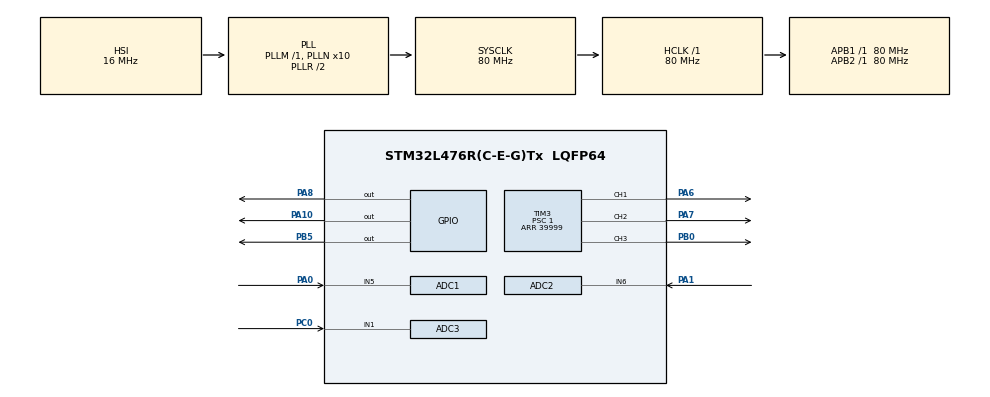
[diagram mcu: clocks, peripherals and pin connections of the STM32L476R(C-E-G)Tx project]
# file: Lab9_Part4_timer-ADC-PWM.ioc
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ADC1.Channel-0\#ChannelRegularConversion=ADC_CHANNEL_5
ADC1.NbrOfConversionFlag=1
ADC1.OffsetNumber-0\#ChannelRegularConversion=ADC_OFFSET_NONE
ADC1.Rank-0\#ChannelRegularConversion=1
ADC1.SamplingTime-0\#ChannelRegularConversion=ADC_SAMPLETIME_2CYCLES_5
ADC1.master=1
ADC2.Channel-0\#ChannelRegularConversion=ADC_CHANNEL_6
ADC2.NbrOfConversionFlag=1
ADC2.OffsetNumber-0\#ChannelRegularConversion=ADC_OFFSET_NONE
ADC2.Rank-0\#ChannelRegularConversion=1
ADC2.SamplingTime-0\#ChannelRegularConversion=ADC_SAMPLETIME_2CYCLES_5
ADC3.Channel-0\#ChannelRegularConversion=ADC_CHANNEL_1
ADC3.NbrOfConversionFlag=1
ADC3.OffsetNumber-0\#ChannelRegularConversion=ADC_OFFSET_NONE
ADC3.Rank-0\#ChannelRegularConversion=1
ADC3.SamplingTime-0\#ChannelRegularConversion=ADC_SAMPLETIME_2CYCLES_5
Mcu.Family=STM32L4
Mcu.Name=STM32L476R(C-E-G)Tx
Mcu.Package=LQFP64
NVIC.PriorityGroup=NVIC_PRIORITYGROUP_4
NVIC.TIM1_UP_TIM16_IRQn=true\:0\:0\:false\:false\:true\:true\:true\:true
PA0.Signal=ADCx_IN5
PA1.Signal=ADCx_IN6
PA10.Signal=GPIO_Output
PA13\ (JTMS-SWDIO).GPIO_Label=TMS
PA13\ (JTMS-SWDIO).Mode=Serial_Wire
PA13\ (JTMS-SWDIO).Signal=SYS_JTMS-SWDIO
PA14\ (JTCK-SWCLK).GPIO_Label=TCK
PA14\ (JTCK-SWCLK).Mode=Serial_Wire
PA14\ (JTCK-SWCLK).Signal=SYS_JTCK-SWCLK
PA6.Signal=S_TIM3_CH1
PA7.Signal=S_TIM3_CH2
PA8.Signal=GPIO_Output
PB0.Signal=S_TIM3_CH3
PB3\ (JTDO-TRACESWO).GPIO_Label=SWO
PB3\ (JTDO-TRACESWO).Signal=SYS_JTDO-SWO
PB5.Signal=GPIO_Output
PC0.Signal=ADCx_IN1
PC14-OSC32_IN\ (PC14).Mode=LSE-External-Oscillator
PC14-OSC32_IN\ (PC14).Signal=RCC_OSC32_IN
PC15-OSC32_OUT\ (PC15).Mode=LSE-External-Oscillator
PC15-OSC32_OUT\ (PC15).Signal=RCC_OSC32_OUT
PH0-OSC_IN\ (PH0).Signal=RCC_OSC_IN
PH1-OSC_OUT\ (PH1).Signal=RCC_OSC_OUT
ProjectManager.HeapSize=0x200
ProjectManager.StackSize=0x400
ProjectManager.TargetToolchain=STM32CubeIDE
RCC.ADCFreq_Value=64000000
RCC.AHBFreq_Value=80000000
RCC.APB1Freq_Value=80000000
RCC.APB1TimFreq_Value=80000000
RCC.APB2Freq_Value=80000000
RCC.APB2TimFreq_Value=80000000
RCC.CortexFreq_Value=80000000
RCC.HCLKFreq_Value=80000000
RCC.HSE_VALUE=8000000
RCC.HSI_VALUE=16000000
RCC.MSI_VALUE=4000000
RCC.PLLN=10
RCC.PLLSourceVirtual=RCC_PLLSOURCE_HSI
RCC.PREFETCH_ENABLE=1
RCC.SYSCLKFreq_VALUE=80000000
RCC.SYSCLKSource=RCC_SYSCLKSOURCE_PLLCLK
RCC.USBFreq_Value=64000000
RCC.VCOOutputFreq_Value=160000000
SH.ADCx_IN1.0=ADC3_IN1,IN1-Single-Ended
SH.ADCx_IN5.0=ADC1_IN5,IN5-Single-Ended
SH.ADCx_IN6.0=ADC2_IN6,IN6-Single-Ended
SH.S_TIM3_CH1.0=TIM3_CH1,PWM Generation1 CH1
SH.S_TIM3_CH2.0=TIM3_CH2,PWM Generation2 CH2
SH.S_TIM3_CH3.0=TIM3_CH3,PWM Generation3 CH3
TIM16.Period=999
TIM16.Prescaler=7999
TIM3.AutoReloadPreload=TIM_AUTORELOAD_PRELOAD_ENABLE
TIM3.Channel-PWM\ Generation1\ CH1=TIM_CHANNEL_1
TIM3.Channel-PWM\ Generation2\ CH2=TIM_CHANNEL_2
TIM3.Channel-PWM\ Generation3\ CH3=TIM_CHANNEL_3
TIM3.Period=39999
TIM3.Prescaler=1
VP_TIM16_VS_ClockSourceINT.Mode=Enable_Timer
VP_TIM3_VS_ClockSourceINT.Mode=Internal
board=NUCLEO-L476RG

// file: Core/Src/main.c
/* USER CODE BEGIN Header */
/**
  ******************************************************************************
  * @file           : main.c
  * @brief          : Main program body
  ******************************************************************************
  * @attention
  *
  * Copyright (c) 2025 STMicroelectronics.
  * All rights reserved.
  *
  * This software is licensed under terms that can be found in the LICENSE file
  * in the root directory of this software component.
  * If no LICENSE file comes with this software, it is provided AS-IS.
  *
  ******************************************************************************
  */
/* USER CODE END Header */
#include "main.h"

ADC_HandleTypeDef hadc1;
ADC_HandleTypeDef hadc2;
ADC_HandleTypeDef hadc3;

TIM_HandleTypeDef htim3;
TIM_HandleTypeDef htim16;

void SystemClock_Config(void);
void PeriphCommonClock_Config(void);
static void MX_GPIO_Init(void);
static void MX_ADC1_Init(void);
static void MX_ADC2_Init(void);
static void MX_ADC3_Init(void);
static void MX_TIM3_Init(void);
static void MX_TIM16_Init(void);

int main(void)
{

  /* MCU Configuration--------------------------------------------------------*/

  /* Reset of all peripherals, Initializes the Flash interface and the Systick. */
  HAL_Init();

  /* Configure the system clock */
  SystemClock_Config();

  /* Configure the peripherals common clocks */
  PeriphCommonClock_Config();

  /* Initialize all configured peripherals */
  MX_GPIO_Init();
  MX_ADC1_Init();
  MX_ADC2_Init();
  MX_ADC3_Init();
  MX_TIM3_Init();
  MX_TIM16_Init();
  /* USER CODE BEGIN 2 */
  HAL_TIM_Base_Start_IT(&htim16); // Start Timer16
  HAL_TIM_PWM_Start(&htim3, TIM_CHANNEL_1); // start PWM on Timer3’s Channel 1
  HAL_TIM_PWM_Start(&htim3, TIM_CHANNEL_2); // start PWM on Timer3’s Channel 2
  HAL_TIM_PWM_Start(&htim3, TIM_CHANNEL_3); // start PWM on Timer3’s Channel 3
  /* USER CODE END 2 */

  /* Infinite loop */
  while (1)
  {

  }
}

void SystemClock_Config(void)
{
  RCC_OscInitTypeDef RCC_OscInitStruct = {0};
  RCC_ClkInitTypeDef RCC_ClkInitStruct = {0};

  /** Configure the main internal regulator output voltage
  */
  if (HAL_PWREx_ControlVoltageScaling(PWR_REGULATOR_VOLTAGE_SCALE1) != HAL_OK)
  {
    Error_Handler();
  }

  /** Initializes the RCC Oscillators according to the specified parameters
  * in the RCC_OscInitTypeDef structure.
  */
  RCC_OscInitStruct.OscillatorType = RCC_OSCILLATORTYPE_HSI;
  RCC_OscInitStruct.HSIState = RCC_HSI_ON;
  RCC_OscInitStruct.HSICalibrationValue = RCC_HSICALIBRATION_DEFAULT;
  RCC_OscInitStruct.PLL.PLLState = RCC_PLL_ON;
  RCC_OscInitStruct.PLL.PLLSource = RCC_PLLSOURCE_HSI;
  RCC_OscInitStruct.PLL.PLLM = 1;
  RCC_OscInitStruct.PLL.PLLN = 10;
  RCC_OscInitStruct.PLL.PLLP = RCC_PLLP_DIV7;
  RCC_OscInitStruct.PLL.PLLQ = RCC_PLLQ_DIV2;
  RCC_OscInitStruct.PLL.PLLR = RCC_PLLR_DIV2;
  if (HAL_RCC_OscConfig(&RCC_OscInitStruct) != HAL_OK)
  {
    Error_Handler();
  }

  /** Initializes the CPU, AHB and APB buses clocks
  */
  RCC_ClkInitStruct.ClockType = RCC_CLOCKTYPE_HCLK|RCC_CLOCKTYPE_SYSCLK
                              |RCC_CLOCKTYPE_PCLK1|RCC_CLOCKTYPE_PCLK2;
  RCC_ClkInitStruct.SYSCLKSource = RCC_SYSCLKSOURCE_PLLCLK;
  RCC_ClkInitStruct.AHBCLKDivider = RCC_SYSCLK_DIV1;
  RCC_ClkInitStruct.APB1CLKDivider = RCC_HCLK_DIV1;
  RCC_ClkInitStruct.APB2CLKDivider = RCC_HCLK_DIV1;

  if (HAL_RCC_ClockConfig(&RCC_ClkInitStruct, FLASH_LATENCY_4) != HAL_OK)
  {
    Error_Handler();
  }
}

void PeriphCommonClock_Config(void)
{
  RCC_PeriphCLKInitTypeDef PeriphClkInit = {0};

  /** Initializes the peripherals clock
  */
  PeriphClkInit.PeriphClockSelection = RCC_PERIPHCLK_ADC;
  PeriphClkInit.AdcClockSelection = RCC_ADCCLKSOURCE_PLLSAI1;
  PeriphClkInit.PLLSAI1.PLLSAI1Source = RCC_PLLSOURCE_HSI;
  PeriphClkInit.PLLSAI1.PLLSAI1M = 1;
  PeriphClkInit.PLLSAI1.PLLSAI1N = 8;
  PeriphClkInit.PLLSAI1.PLLSAI1P = RCC_PLLP_DIV7;
  PeriphClkInit.PLLSAI1.PLLSAI1Q = RCC_PLLQ_DIV2;
  PeriphClkInit.PLLSAI1.PLLSAI1R = RCC_PLLR_DIV2;
  PeriphClkInit.PLLSAI1.PLLSAI1ClockOut = RCC_PLLSAI1_ADC1CLK;
  if (HAL_RCCEx_PeriphCLKConfig(&PeriphClkInit) != HAL_OK)
  {
    Error_Handler();
  }
}

static void MX_ADC1_Init(void)
{

  ADC_MultiModeTypeDef multimode = {0};
  ADC_ChannelConfTypeDef sConfig = {0};

  /** Common config
  */
  hadc1.Instance = ADC1;
  hadc1.Init.ClockPrescaler = ADC_CLOCK_ASYNC_DIV1;
  hadc1.Init.Resolution = ADC_RESOLUTION_12B;
  hadc1.Init.DataAlign = ADC_DATAALIGN_RIGHT;
  hadc1.Init.ScanConvMode = ADC_SCAN_DISABLE;
  hadc1.Init.EOCSelection = ADC_EOC_SINGLE_CONV;
  hadc1.Init.LowPowerAutoWait = DISABLE;
  hadc1.Init.ContinuousConvMode = DISABLE;
  hadc1.Init.NbrOfConversion = 1;
  hadc1.Init.DiscontinuousConvMode = DISABLE;
  hadc1.Init.ExternalTrigConv = ADC_SOFTWARE_START;
  hadc1.Init.ExternalTrigConvEdge = ADC_EXTERNALTRIGCONVEDGE_NONE;
  hadc1.Init.DMAContinuousRequests = DISABLE;
  hadc1.Init.Overrun = ADC_OVR_DATA_PRESERVED;
  hadc1.Init.OversamplingMode = DISABLE;
  if (HAL_ADC_Init(&hadc1) != HAL_OK)
  {
    Error_Handler();
  }

  /** Configure the ADC multi-mode
  */
  multimode.Mode = ADC_MODE_INDEPENDENT;
  if (HAL_ADCEx_MultiModeConfigChannel(&hadc1, &multimode) != HAL_OK)
  {
    Error_Handler();
  }

  /** Configure Regular Channel
  */
  sConfig.Channel = ADC_CHANNEL_5;
  sConfig.Rank = ADC_REGULAR_RANK_1;
  sConfig.SamplingTime = ADC_SAMPLETIME_2CYCLES_5;
  sConfig.SingleDiff = ADC_SINGLE_ENDED;
  sConfig.OffsetNumber = ADC_OFFSET_NONE;
  sConfig.Offset = 0;
  if (HAL_ADC_ConfigChannel(&hadc1, &sConfig) != HAL_OK)
  {
    Error_Handler();
  }

}

static void MX_ADC2_Init(void)
{

  ADC_ChannelConfTypeDef sConfig = {0};

  /** Common config
  */
  hadc2.Instance = ADC2;
  hadc2.Init.ClockPrescaler = ADC_CLOCK_ASYNC_DIV1;
  hadc2.Init.Resolution = ADC_RESOLUTION_12B;
  hadc2.Init.DataAlign = ADC_DATAALIGN_RIGHT;
  hadc2.Init.ScanConvMode = ADC_SCAN_DISABLE;
  hadc2.Init.EOCSelection = ADC_EOC_SINGLE_CONV;
  hadc2.Init.LowPowerAutoWait = DISABLE;
  hadc2.Init.ContinuousConvMode = DISABLE;
  hadc2.Init.NbrOfConversion = 1;
  hadc2.Init.DiscontinuousConvMode = DISABLE;
  hadc2.Init.ExternalTrigConv = ADC_SOFTWARE_START;
  hadc2.Init.ExternalTrigConvEdge = ADC_EXTERNALTRIGCONVEDGE_NONE;
  hadc2.Init.DMAContinuousRequests = DISABLE;
  hadc2.Init.Overrun = ADC_OVR_DATA_PRESERVED;
  hadc2.Init.OversamplingMode = DISABLE;
  if (HAL_ADC_Init(&hadc2) != HAL_OK)
  {
    Error_Handler();
  }

  /** Configure Regular Channel
  */
  sConfig.Channel = ADC_CHANNEL_6;
  sConfig.Rank = ADC_REGULAR_RANK_1;
  sConfig.SamplingTime = ADC_SAMPLETIME_2CYCLES_5;
  sConfig.SingleDiff = ADC_SINGLE_ENDED;
  sConfig.OffsetNumber = ADC_OFFSET_NONE;
  sConfig.Offset = 0;
  if (HAL_ADC_ConfigChannel(&hadc2, &sConfig) != HAL_OK)
  {
    Error_Handler();
  }

}

static void MX_ADC3_Init(void)
{

  ADC_ChannelConfTypeDef sConfig = {0};

  /** Common config
  */
  hadc3.Instance = ADC3;
  hadc3.Init.ClockPrescaler = ADC_CLOCK_ASYNC_DIV1;
  hadc3.Init.Resolution = ADC_RESOLUTION_12B;
  hadc3.Init.DataAlign = ADC_DATAALIGN_RIGHT;
  hadc3.Init.ScanConvMode = ADC_SCAN_DISABLE;
  hadc3.Init.EOCSelection = ADC_EOC_SINGLE_CONV;
  hadc3.Init.LowPowerAutoWait = DISABLE;
  hadc3.Init.ContinuousConvMode = DISABLE;
  hadc3.Init.NbrOfConversion = 1;
  hadc3.Init.DiscontinuousConvMode = DISABLE;
  hadc3.Init.ExternalTrigConv = ADC_SOFTWARE_START;
  hadc3.Init.ExternalTrigConvEdge = ADC_EXTERNALTRIGCONVEDGE_NONE;
  hadc3.Init.DMAContinuousRequests = DISABLE;
  hadc3.Init.Overrun = ADC_OVR_DATA_PRESERVED;
  hadc3.Init.OversamplingMode = DISABLE;
  if (HAL_ADC_Init(&hadc3) != HAL_OK)
  {
    Error_Handler();
  }

  /** Configure Regular Channel
  */
  sConfig.Channel = ADC_CHANNEL_1;
  sConfig.Rank = ADC_REGULAR_RANK_1;
  sConfig.SamplingTime = ADC_SAMPLETIME_2CYCLES_5;
  sConfig.SingleDiff = ADC_SINGLE_ENDED;
  sConfig.OffsetNumber = ADC_OFFSET_NONE;
  sConfig.Offset = 0;
  if (HAL_ADC_ConfigChannel(&hadc3, &sConfig) != HAL_OK)
  {
    Error_Handler();
  }

}

static void MX_TIM3_Init(void)
{

  TIM_ClockConfigTypeDef sClockSourceConfig = {0};
  TIM_MasterConfigTypeDef sMasterConfig = {0};
  TIM_OC_InitTypeDef sConfigOC = {0};

  htim3.Instance = TIM3;
  htim3.Init.Prescaler = 1;
  htim3.Init.CounterMode = TIM_COUNTERMODE_UP;
  htim3.Init.Period = 39999;
  htim3.Init.ClockDivision = TIM_CLOCKDIVISION_DIV1;
  htim3.Init.AutoReloadPreload = TIM_AUTORELOAD_PRELOAD_ENABLE;
  if (HAL_TIM_Base_Init(&htim3) != HAL_OK)
  {
    Error_Handler();
  }
  sClockSourceConfig.ClockSource = TIM_CLOCKSOURCE_INTERNAL;
  if (HAL_TIM_ConfigClockSource(&htim3, &sClockSourceConfig) != HAL_OK)
  {
    Error_Handler();
  }
  if (HAL_TIM_PWM_Init(&htim3) != HAL_OK)
  {
    Error_Handler();
  }
  sMasterConfig.MasterOutputTrigger = TIM_TRGO_RESET;
  sMasterConfig.MasterSlaveMode = TIM_MASTERSLAVEMODE_DISABLE;
  if (HAL_TIMEx_MasterConfigSynchronization(&htim3, &sMasterConfig) != HAL_OK)
  {
    Error_Handler();
  }
  sConfigOC.OCMode = TIM_OCMODE_PWM1;
  sConfigOC.Pulse = 0;
  sConfigOC.OCPolarity = TIM_OCPOLARITY_HIGH;
  sConfigOC.OCFastMode = TIM_OCFAST_DISABLE;
  if (HAL_TIM_PWM_ConfigChannel(&htim3, &sConfigOC, TIM_CHANNEL_1) != HAL_OK)
  {
    Error_Handler();
  }
  if (HAL_TIM_PWM_ConfigChannel(&htim3, &sConfigOC, TIM_CHANNEL_2) != HAL_OK)
  {
    Error_Handler();
  }
  if (HAL_TIM_PWM_ConfigChannel(&htim3, &sConfigOC, TIM_CHANNEL_3) != HAL_OK)
  {
    Error_Handler();
  }
  HAL_TIM_MspPostInit(&htim3);

}

static void MX_TIM16_Init(void)
{

  htim16.Instance = TIM16;
  htim16.Init.Prescaler = 7999;
  htim16.Init.CounterMode = TIM_COUNTERMODE_UP;
  htim16.Init.Period = 999;
  htim16.Init.ClockDivision = TIM_CLOCKDIVISION_DIV1;
  htim16.Init.RepetitionCounter = 0;
  htim16.Init.AutoReloadPreload = TIM_AUTORELOAD_PRELOAD_DISABLE;
  if (HAL_TIM_Base_Init(&htim16) != HAL_OK)
  {
    Error_Handler();
  }

}

static void MX_GPIO_Init(void)
{
  GPIO_InitTypeDef GPIO_InitStruct = {0};

  /* GPIO Ports Clock Enable */
  __HAL_RCC_GPIOC_CLK_ENABLE();
  __HAL_RCC_GPIOH_CLK_ENABLE();
  __HAL_RCC_GPIOA_CLK_ENABLE();
  __HAL_RCC_GPIOB_CLK_ENABLE();

  /*Configure GPIO pin Output Level */
  HAL_GPIO_WritePin(GPIOA, GPIO_PIN_8|GPIO_PIN_10, GPIO_PIN_RESET);

  /*Configure GPIO pin Output Level */
  HAL_GPIO_WritePin(GPIOB, GPIO_PIN_5, GPIO_PIN_RESET);

  /*Configure GPIO pins : PA8 PA10 */
  GPIO_InitStruct.Pin = GPIO_PIN_8|GPIO_PIN_10;
  GPIO_InitStruct.Mode = GPIO_MODE_OUTPUT_PP;
  GPIO_InitStruct.Pull = GPIO_NOPULL;
  GPIO_InitStruct.Speed = GPIO_SPEED_FREQ_LOW;
  HAL_GPIO_Init(GPIOA, &GPIO_InitStruct);

  /*Configure GPIO pin : PB5 */
  GPIO_InitStruct.Pin = GPIO_PIN_5;
  GPIO_InitStruct.Mode = GPIO_MODE_OUTPUT_PP;
  GPIO_InitStruct.Pull = GPIO_NOPULL;
  GPIO_InitStruct.Speed = GPIO_SPEED_FREQ_LOW;
  HAL_GPIO_Init(GPIOB, &GPIO_InitStruct);

}

/* USER CODE BEGIN 4 */
// Callback: this ISR is triggered whenever a timer has rolled over
void HAL_TIM_PeriodElapsedCallback(TIM_HandleTypeDef *htim)
{
	 // Check which timer triggered this callback
	 if (htim == &htim16) // if the triggered timer was Timer 16
	 {
		 int PWM_PERIOD = 40000;
		 int ADC_RANGE = 4096; // 2^12 (12-bit resolution)

		 // Start ADC Conversions
		 HAL_ADC_Start(&hadc1);
		 HAL_ADC_Start(&hadc2);
		 HAL_ADC_Start(&hadc3);

		 // Wait for ADC conversions to complete
		 HAL_ADC_PollForConversion(&hadc1, HAL_MAX_DELAY);
		 HAL_ADC_PollForConversion(&hadc2, HAL_MAX_DELAY);
		 HAL_ADC_PollForConversion(&hadc3, HAL_MAX_DELAY);

		 // Read ADC values
		 uint16_t knob_measurement = HAL_ADC_GetValue(&hadc1);
		 uint16_t xjoy_measurement = HAL_ADC_GetValue(&hadc2);
		 uint16_t yjoy_measurement = HAL_ADC_GetValue(&hadc3);

		 // Convert ADC levels to a fraction of total (value of 0.0 to 1.0)
		 float knob_value = ((float) knob_measurement) / ADC_RANGE;
		 float xjoy_value = ((float) xjoy_measurement) / ADC_RANGE;
		 float yjoy_value = ((float) yjoy_measurement) / ADC_RANGE;

		 // Write the PWM duty cycle values for the tri-color RGB LED
		 TIM3->CCR1 = (int) (knob_value * PWM_PERIOD); // red
		 TIM3->CCR2 = (int) (xjoy_value * PWM_PERIOD); // green
		 TIM3->CCR3 = (int) (yjoy_value * PWM_PERIOD); // blue

		 // Use the three single-color LEDs as the three
		 // most-significant bits of the knob measurement

		 // get the three most significant bits
		 char msb = (knob_measurement & (1 << 11)) >> 11;
		 char mid = (knob_measurement & (1 << 10)) >> 10;
		 char lsb = (knob_measurement & (1 << 9)) >> 9;

		 // write the value of the corresponding bit to the LEDs
		 HAL_GPIO_WritePin(GPIOA, GPIO_PIN_10, msb);
		 HAL_GPIO_WritePin(GPIOB, GPIO_PIN_5, mid);
		 HAL_GPIO_WritePin(GPIOA, GPIO_PIN_8, lsb);
	 }
}
/* USER CODE END 4 */

void Error_Handler(void)
{
  __disable_irq();
  while (1)
  {
  }
}
